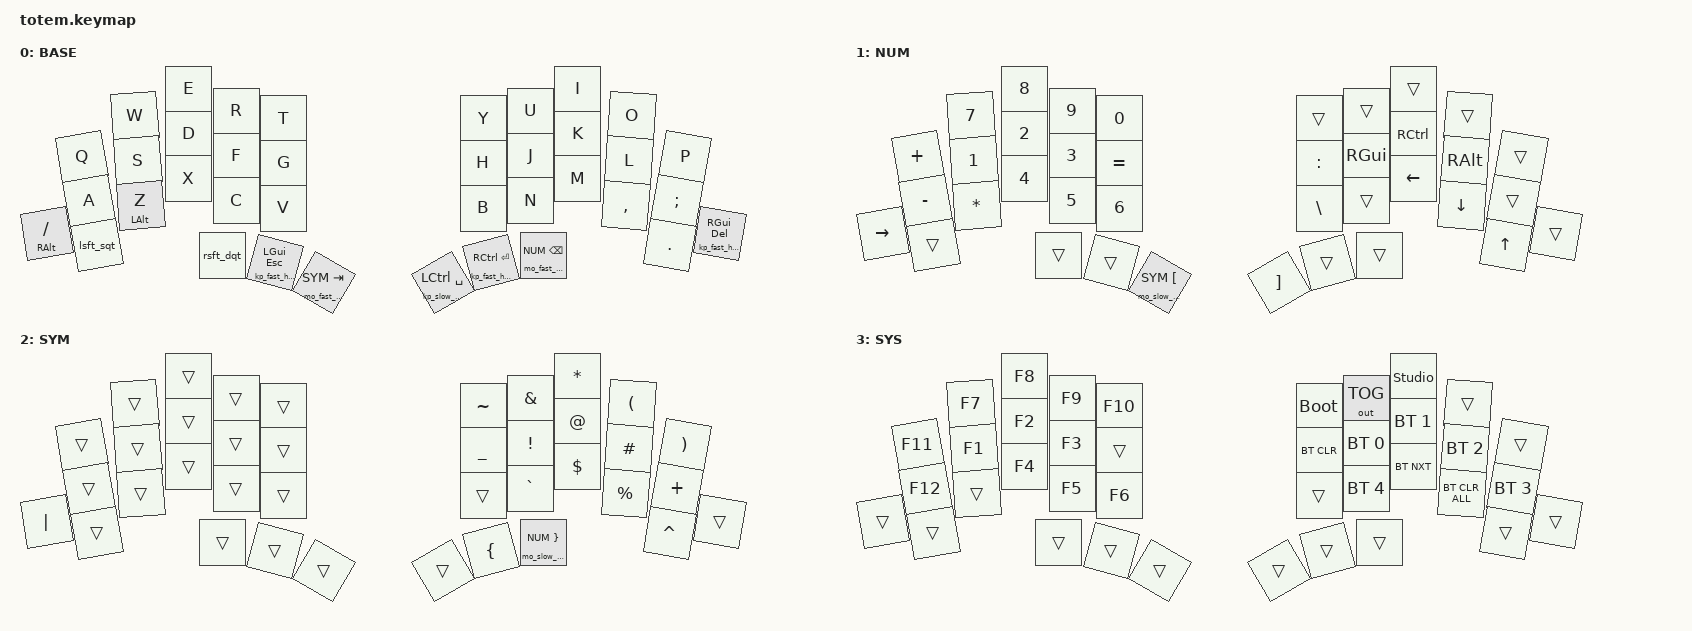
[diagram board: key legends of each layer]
/*
 * KBH Totem (38-key) — port of tomzbench's Kinesis Adv360 keymap to ZMK.
 *
 * Philosophy (carried over from the Adv360 config):
 *   - Thumb mods, NOT home-row mods. Home row stays pure letters -> no
 *     roll misfires. Mods live on the thumbs (GUI/CTRL) and the pinkies.
 *   - Shift  = mod-morph on the row-3 outer pinkies (tap = ' / ").
 *   - Alt    = hold-tap on Z and / (tap-preferred, so typing never misfires).
 *   - Layers: hold an inner thumb for NUM / SYM. Hold BOTH -> SYS (tri-layer).
 *   - Brackets live on the thumbs of the OPPOSITE hand from the layer hold:
 *       NUM (held by right thumb) -> [ ] on the LEFT thumbs
 *       SYM (held by left  thumb) -> { } on the RIGHT thumbs
 *
 * Behaviors (kp_fast_hold / kp_slow_hold / mo_fast_hold) and the shift
 * mod-morphs come straight from tomzbench.dtsi. Macros come from macros.dtsi
 * (defined but unbound, available to map later).
 */

#include <behaviors.dtsi>
#include <dt-bindings/zmk/keys.h>
#include <dt-bindings/zmk/bt.h>
#include <dt-bindings/zmk/outputs.h>
#include <dt-bindings/zmk/pointing.h>

#define BASE 0
#define NUM  1
#define SYM  2
#define SYS  3

/* Thumb dual-role keys (1:1 with the Adv360 thumb cluster) */
#define LGUI_ESC    &kp_fast_hold LGUI  ESC
#define LCTRL_SPACE &kp_slow_hold LCTRL SPACE
#define SYM_TAB     &mo_fast_hold SYM   TAB
#define NUM_BSPC    &mo_fast_hold NUM   BSPC
#define RCTRL_ENTER &kp_fast_hold RCTRL ENTER
#define RGUI_DEL    &kp_fast_hold RGUI  DELETE

/ {
    behaviors {
        #include "macros.dtsi"
        #include "tomzbench.dtsi"

        /* Pinky alt: hold = mod, tap = letter. tap-preferred = no misfire
           during fast typing; Alt only fires on a deliberate hold. */
        pmt: pinky_mod_tap {
            compatible = "zmk,behavior-hold-tap";
            label = "PINKY_MOD_TAP";
            #binding-cells = <2>;
            flavor = "tap-preferred";
            tapping-term-ms = <200>;
            quick-tap-ms = <175>;
            bindings = <&kp>, <&kp>;
        };
    };

    conditional_layers {
        compatible = "zmk,conditional-layers";
        /* hold NUM + SYM (squeeze both middle thumbs) -> SYS */
        tri_sys {
            if-layers = <NUM SYM>;
            then-layer = <SYS>;
        };
    };

    keymap {
        compatible = "zmk,keymap";

        /*
         * ╭─────────────────────────────╮ ╭─────────────────────────────╮
         * │  Q    W    E    R    T       │ │       Y    U    I    O    P  │
         * │  A    S    D    F    G       │ │       H    J    K    L    ;  │
         * │ '"⇧ Z⌥  X    C    V    B     │ │     N    M    ,    .  /⌥ "'⇧ │
         * ╰──────────╮ GUI  SYM  CTL     │ │     CTL  NUM  GUI ╭──────────╯
         *            ╰ /esc /tab /spc    │ │     /ent /bsp /del╯
         *   (SYS = squeeze both middle thumbs: SYM + NUM)
         */
        base_layer {
            display-name = "BASE";
            bindings = <
  &kp Q       &kp W        &kp E    &kp R    &kp T          &kp Y    &kp U    &kp I      &kp O    &kp P
  &kp A       &kp S        &kp D    &kp F    &kp G          &kp H    &kp J    &kp K      &kp L    &kp SEMI
  &lsft_sqt &pmt LALT Z &kp X &kp C &kp V &kp B            &kp N &kp M &kp COMMA &kp DOT &pmt RALT FSLH &rsft_dqt
                          LGUI_ESC SYM_TAB LCTRL_SPACE      RCTRL_ENTER NUM_BSPC RGUI_DEL
            >;
        };

        /*
         * NUM — hold right-MIDDLE thumb. Numbers LEFT, mods+arrows RIGHT
         *       (Ctrl+2 etc. work; arrows under the home row). [ ] on the
         *       left middle+center; the middle also holds SYM (tap-pref) -> SYS.
         * ╭─────────────────────────────╮ ╭─────────────────────────────╮
         * │  +    7    8    9    0       │ │                             │
         * │  -    1    2    3    =       │ │       :   GUI  CTL  ALT      │
         * │      *    4    5    6    \   │ │         ←    ↓    ↑    →      │
         * ╰──────────╮  ·  [⇧SYM ]      │ │    (num)         ╭──────────╯
         */
        num_layer {
            display-name = "NUM";
            bindings = <
  &kp PLUS    &kp N7       &kp N8   &kp N9   &kp N0         &trans     &trans   &trans    &trans    &trans
  &kp MINUS   &kp N1       &kp N2   &kp N3   &kp EQUAL      &kp COLON  &kp RGUI &kp RCTRL &kp RALT  &trans
  &trans  &kp ASTRK &kp N4 &kp N5 &kp N6 &kp BSLH          &trans  &kp LEFT &kp DOWN &kp UP &kp RIGHT  &trans
                          &trans &mo_slow_hold SYM LBKT &kp RBKT          &trans &trans &trans
            >;
        };

        /*
         * SYM — hold left-MIDDLE thumb. Symbols on the RIGHT hand, left
         *       transparent. { } on the right center+middle; the middle
         *       also holds NUM (tap-pref) -> SYS.
         * ╭─────────────────────────────╮ ╭─────────────────────────────╮
         * │                             │ │   ~    &    *    (    )      │
         * │                             │ │   _    !    @    #    +      │
         * │                             │ │     `    $    %    ^    |    │
         * ╰──────────╮      (sym)       │ │       {  ]⇧NUM ·  ╭────────╯
         */
        sym_layer {
            display-name = "SYM";
            bindings = <
  &trans      &trans       &trans   &trans   &trans         &kp TILDE  &kp AMPS   &kp ASTRK   &kp LPAR  &kp RPAR
  &trans      &trans       &trans   &trans   &trans         &kp UNDER  &kp EXCL   &kp AT      &kp HASH  &kp PLUS
  &trans  &trans &trans &trans &trans &trans               &kp GRAVE &kp DOLLAR &kp PERCENT &kp CARET &kp PIPE  &trans
                          &trans &trans &trans          &kp LBRC &mo_slow_hold NUM RBRC &trans
            >;
        };

        /*
         * SYS — hold NUM + SYM together. F-keys on the LEFT (mirroring the
         *       NUM digits). System/BT on the RIGHT.
         * ╭─────────────────────────────╮ ╭─────────────────────────────╮
         * │ F11   F7   F8   F9  F10      │ │ BOOT OUTtog STUDIO          │
         * │ F12   F1   F2   F3           │ │ BTclr BT0  BT1  BT2  BT3     │
         * │      F4   F5   F6            │ │   BT4 BTnxt BTclrA          │
         * ╰──────────╮                   │ │                  ╭──────────╯
         */
        sys_layer {
            display-name = "SYS";
            bindings = <
  &kp F11     &kp F7       &kp F8   &kp F9   &kp F10        &bootloader &out OUT_TOG &studio_unlock &trans &trans
  &kp F12     &kp F1       &kp F2   &kp F3   &trans         &bt BT_CLR &bt BT_SEL 0 &bt BT_SEL 1 &bt BT_SEL 2 &bt BT_SEL 3
  &trans  &trans &kp F4 &kp F5 &kp F6 &trans               &bt BT_SEL 4 &bt BT_NXT &bt BT_CLR_ALL &trans &trans  &trans
                          &trans   &trans   &trans          &trans     &trans     &trans
            >;
        };
    };
};
